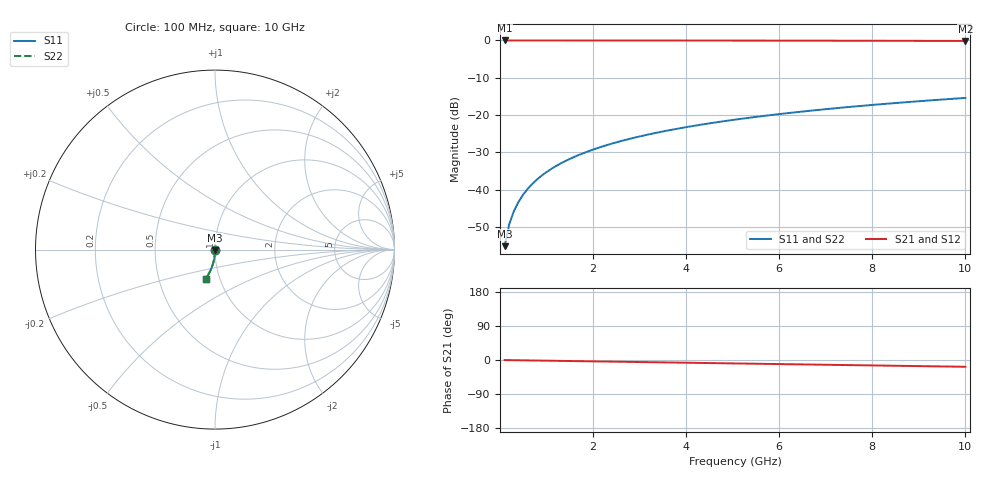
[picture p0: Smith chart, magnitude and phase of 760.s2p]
# Hz S RI R 50.00
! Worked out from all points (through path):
!   100 points, 100 MHz to 10 GHz, reference 50 ohm
!   highest |S21| = 0.00 dB at 100 MHz (marker M1); lowest = -0.1 dB at 10 GHz (marker M2)
!   group delay of S21, straight-line fit = 4.97 ps
!   lowest |S11| = -55.1 dB at 100 MHz (marker M3), VSWR 1.00, Z = 50 - j0.173 ohm
!   |S11| at or under -10 dB: start of sweep to end of sweep
!   |S22| runs from -55.1 to -15.4 dB; largest |S21 - S12| = 0
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1e8  0.000334 -0.00173  0.9996 -0.00313  0.9996 -0.00313  0.000334 -0.00173
2e8  0.000318 -0.00346  0.9996 -0.00625  0.9996 -0.00625  0.000318 -0.00346
3e8  0.00029 -0.00519  0.9996 -0.00938  0.9996 -0.00938  0.00029 -0.00519
4e8  0.000251 -0.00692  0.9995 -0.0125  0.9995 -0.0125  0.000251 -0.00692
5e8  0.000202 -0.00865  0.9995 -0.0156  0.9995 -0.0156  0.000202 -0.00865
6e8  0.000141 -0.0104  0.9994 -0.0188  0.9994 -0.0188  0.000141 -0.0104
7e8  6.93e-05 -0.0121  0.9993 -0.0219  0.9993 -0.0219  6.93e-05 -0.0121
8e8  -1.32e-05 -0.0138  0.9992 -0.025  0.9992 -0.025  -1.32e-05 -0.0138
9e8  -0.000107 -0.0156  0.9991 -0.0281  0.9991 -0.0281  -0.000107 -0.0156
1.1e9  -0.000326 -0.019  0.9988 -0.0344  0.9988 -0.0344  -0.000326 -0.019
1.4e9  -0.000736 -0.0242  0.9984 -0.0437  0.9984 -0.0437  -0.000736 -0.0242
1.8e9  -0.00143 -0.0311  0.9975 -0.0562  0.9975 -0.0562  -0.00143 -0.0311
2.1e9  -0.00207 -0.0362  0.9968 -0.0656  0.9968 -0.0656  -0.00207 -0.0362
2.5e9  -0.00307 -0.0431  0.9956 -0.078  0.9956 -0.078  -0.00307 -0.0431
2.9e9  -0.00424 -0.0499  0.9942 -0.0905  0.9942 -0.0905  -0.00424 -0.0499
3.4e9  -0.00595 -0.0584  0.9922 -0.106  0.9922 -0.106  -0.00595 -0.0584
4.2e9  -0.00923 -0.0719  0.9883 -0.1307  0.9883 -0.1307  -0.00923 -0.0719
5.1e9  -0.0137 -0.0868  0.983 -0.1582  0.983 -0.1582  -0.0137 -0.0868
5.9e9  -0.0184 -0.0999  0.9774 -0.1825  0.9774 -0.1825  -0.0184 -0.0999
6.7e9  -0.0237 -0.1126  0.9711 -0.2066  0.9711 -0.2066  -0.0237 -0.1126
8.4e9  -0.0371 -0.1388  0.9551 -0.2568  0.9551 -0.2568  -0.0371 -0.1388
1e10  -0.0521 -0.1618  0.9372 -0.3026  0.9372 -0.3026  -0.0521 -0.1618
